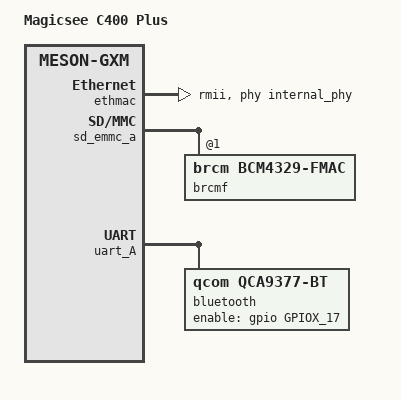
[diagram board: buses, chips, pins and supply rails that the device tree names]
/dts-v1/;

#include "meson-gxm.dtsi"
#include "meson-gx-p23x-q20x.dtsi"

/ {
	compatible = "magicsee,c400-plus", "amlogic,s912", "amlogic,meson-gxm";
	model = "Magicsee C400 Plus";
};

/* Q201 has only internal PHY port */
&ethmac {
	phy-mode = "rmii";
	phy-handle = <&internal_phy>;
};

&sd_emmc_a {
	brcmf: wifi@1 {
		reg = <1>;
		compatible = "brcm,bcm4329-fmac";
	};
};

&uart_A {
	status = "okay";
	pinctrl-0 = <&uart_a_pins>, <&uart_a_cts_rts_pins>;
	pinctrl-names = "default";
	uart-has-rtscts;

	bluetooth {
		compatible = "qcom,qca9377-bt";
		enable-gpios = <&gpio GPIOX_17 GPIO_ACTIVE_HIGH>;
		max-speed = <2000000>;
		clocks = <&wifi32k>;
		clock-names = "lpo";
	};
};

/* Wireless SDIO Module */
&sd_emmc_a {
	max-frequency = <50000000>;
};
